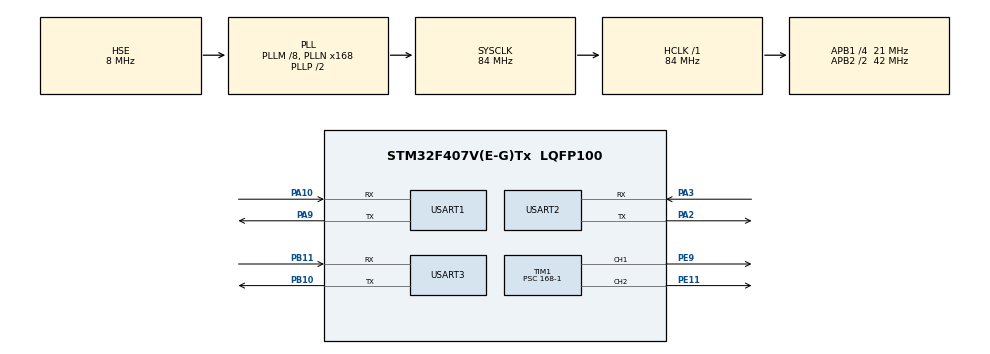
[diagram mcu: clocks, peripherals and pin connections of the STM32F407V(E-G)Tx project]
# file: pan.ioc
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Dma.Request0=USART3_RX
Dma.Request1=USART2_RX
Dma.Request2=USART1_RX
Dma.USART1_RX.2.Direction=DMA_PERIPH_TO_MEMORY
Dma.USART1_RX.2.FIFOMode=DMA_FIFOMODE_DISABLE
Dma.USART1_RX.2.Instance=DMA2_Stream2
Dma.USART1_RX.2.MemDataAlignment=DMA_MDATAALIGN_BYTE
Dma.USART1_RX.2.MemInc=DMA_MINC_ENABLE
Dma.USART1_RX.2.Mode=DMA_NORMAL
Dma.USART1_RX.2.PeriphDataAlignment=DMA_PDATAALIGN_BYTE
Dma.USART1_RX.2.PeriphInc=DMA_PINC_DISABLE
Dma.USART1_RX.2.Priority=DMA_PRIORITY_LOW
Dma.USART2_RX.1.Direction=DMA_PERIPH_TO_MEMORY
Dma.USART2_RX.1.FIFOMode=DMA_FIFOMODE_DISABLE
Dma.USART2_RX.1.Instance=DMA1_Stream5
Dma.USART2_RX.1.MemDataAlignment=DMA_MDATAALIGN_BYTE
Dma.USART2_RX.1.MemInc=DMA_MINC_ENABLE
Dma.USART2_RX.1.Mode=DMA_NORMAL
Dma.USART2_RX.1.PeriphDataAlignment=DMA_PDATAALIGN_BYTE
Dma.USART2_RX.1.PeriphInc=DMA_PINC_DISABLE
Dma.USART2_RX.1.Priority=DMA_PRIORITY_LOW
Dma.USART3_RX.0.Direction=DMA_PERIPH_TO_MEMORY
Dma.USART3_RX.0.FIFOMode=DMA_FIFOMODE_DISABLE
Dma.USART3_RX.0.Instance=DMA1_Stream1
Dma.USART3_RX.0.MemDataAlignment=DMA_MDATAALIGN_BYTE
Dma.USART3_RX.0.MemInc=DMA_MINC_ENABLE
Dma.USART3_RX.0.Mode=DMA_NORMAL
Dma.USART3_RX.0.PeriphDataAlignment=DMA_PDATAALIGN_BYTE
Dma.USART3_RX.0.PeriphInc=DMA_PINC_DISABLE
Dma.USART3_RX.0.Priority=DMA_PRIORITY_LOW
Mcu.Family=STM32F4
Mcu.Name=STM32F407V(E-G)Tx
Mcu.Package=LQFP100
NVIC.DMA1_Stream1_IRQn=true\:0\:0\:false\:false\:true\:false\:true
NVIC.DMA1_Stream5_IRQn=true\:0\:0\:false\:false\:true\:false\:true
NVIC.DMA2_Stream2_IRQn=true\:0\:0\:false\:false\:true\:false\:true
NVIC.PriorityGroup=NVIC_PRIORITYGROUP_4
NVIC.USART1_IRQn=true\:0\:0\:false\:false\:true\:true\:true
NVIC.USART2_IRQn=true\:0\:0\:false\:false\:true\:true\:true
NVIC.USART3_IRQn=true\:0\:0\:false\:false\:true\:true\:true
PA10.Mode=Asynchronous
PA10.Signal=USART1_RX
PA13.Mode=Serial_Wire
PA13.Signal=SYS_JTMS-SWDIO
PA14.Mode=Serial_Wire
PA14.Signal=SYS_JTCK-SWCLK
PA2.Mode=Asynchronous
PA2.Signal=USART2_TX
PA3.Mode=Asynchronous
PA3.Signal=USART2_RX
PA9.Mode=Asynchronous
PA9.Signal=USART1_TX
PB10.Mode=Asynchronous
PB10.Signal=USART3_TX
PB11.Mode=Asynchronous
PB11.Signal=USART3_RX
PC14-OSC32_IN.Mode=LSE-External-Oscillator
PC14-OSC32_IN.Signal=RCC_OSC32_IN
PC15-OSC32_OUT.Mode=LSE-External-Oscillator
PC15-OSC32_OUT.Signal=RCC_OSC32_OUT
PE11.Signal=S_TIM1_CH2
PE9.Signal=S_TIM1_CH1
PH0-OSC_IN.Mode=HSE-External-Oscillator
PH0-OSC_IN.Signal=RCC_OSC_IN
PH1-OSC_OUT.Mode=HSE-External-Oscillator
PH1-OSC_OUT.Signal=RCC_OSC_OUT
ProjectManager.HeapSize=0x200
ProjectManager.StackSize=0x400
ProjectManager.TargetToolchain=MDK-ARM V5.27
RCC.48MHZClocksFreq_Value=42000000
RCC.AHBFreq_Value=84000000
RCC.APB1CLKDivider=RCC_HCLK_DIV4
RCC.APB1Freq_Value=21000000
RCC.APB1TimFreq_Value=42000000
RCC.APB2CLKDivider=RCC_HCLK_DIV2
RCC.APB2Freq_Value=42000000
RCC.APB2TimFreq_Value=84000000
RCC.CortexFreq_Value=84000000
RCC.HCLKFreq_Value=84000000
RCC.HSE_VALUE=8000000
RCC.HSI_VALUE=16000000
RCC.PLLM=8
RCC.PLLN=168
RCC.PLLSourceVirtual=RCC_PLLSOURCE_HSE
RCC.SYSCLKFreq_VALUE=84000000
RCC.SYSCLKSource=RCC_SYSCLKSOURCE_PLLCLK
RCC.VCOOutputFreq_Value=168000000
SH.S_TIM1_CH1.0=TIM1_CH1,PWM Generation1 CH1
SH.S_TIM1_CH2.0=TIM1_CH2,PWM Generation2 CH2
TIM1.Channel-PWM\ Generation1\ CH1=TIM_CHANNEL_1
TIM1.Channel-PWM\ Generation2\ CH2=TIM_CHANNEL_2
TIM1.Period=20000
TIM1.Prescaler=168-1
USART1.VirtualMode=VM_ASYNC
USART2.VirtualMode=VM_ASYNC
USART3.VirtualMode=VM_ASYNC
VP_TIM1_VS_ClockSourceINT.Mode=Internal
board=custom

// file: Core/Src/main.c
/* USER CODE BEGIN Header */
/**
 ******************************************************************************
 * @file           : main.c
 * @brief          : Main program body
 ******************************************************************************
 * @attention
 *
 * <h2><center>&copy; Copyright (c) 2022 STMicroelectronics.
 * All rights reserved.</center></h2>
 *
 * This software component is licensed by ST under BSD 3-Clause license,
 * the "License"; You may not use this file except in compliance with the
 * License. You may obtain a copy of the License at:
 *                        opensource.org/licenses/BSD-3-Clause
 *
 ******************************************************************************
 */

/* USER CODE END Header */
#include "main.h"
#include "dma.h"
#include "tim.h"
#include "usart.h"
#include "gpio.h"

/* USER CODE BEGIN Includes */
#include <stdio.h>
#include "pan.h"
/* USER CODE END Includes */

void SystemClock_Config(void);

/* USER CODE BEGIN 0 */
float pos_x;
float pos_y;
float anglea;
float angleb;

#ifdef __GNUC__
#define PUTCHAR_PROTOTYPE int __io_putchar(int ch)
#else
#define PUTCHAR_PROTOTYPE int fputc(int ch, FILE *f)
#endif
PUTCHAR_PROTOTYPE
{
    HAL_UART_Transmit(&huart3, (uint8_t *)&ch, 1, 0xFFFF);
    return ch;
}
/* USER CODE END 0 */

int main(void)
{

  /* MCU Configuration--------------------------------------------------------*/

  /* Reset of all peripherals, Initializes the Flash interface and the Systick. */
  HAL_Init();

  /* Configure the system clock */
  SystemClock_Config();

  /* USER CODE BEGIN SysInit */
    // MXInit
    {
  /* USER CODE END SysInit */

  /* Initialize all configured peripherals */
  MX_GPIO_Init();
  MX_DMA_Init();
  MX_TIM1_Init();
  MX_USART1_UART_Init();
  MX_USART2_UART_Init();
  MX_USART3_UART_Init();
  /* USER CODE BEGIN 2 */
    }

    //  I2C_GPIO_Config();
    //  MPU6050_init();
    // TimeInit();
    printf("Init\r\n");
		//HAL_UART_Transmit(&huart3, "hello\r\n", 7, 0xff);
		HAL_TIM_PWM_Start(&htim1,TIM_CHANNEL_1);
	  HAL_TIM_PWM_Start(&htim1,TIM_CHANNEL_2);

		send_H_angle(500);
		send_L_angle(90);
		HAL_Delay(3000);
												send_H_angle(480);
										send_L_angle(65);
		//send_H_angle((int)0);
		int a=0;
		pos_x=90;
		//send_L_angle((int)(0+90));
  /* USER CODE END 2 */

  /* Infinite loop */
  /* USER CODE BEGIN WHILE */
    while (1)
    {
						//printf("enter\r\n");
		//send_L_angle((int)pos_x);
			//__HAL_TIM_SET_COMPARE(&htim1, TIM_CHANNEL_2, a);
		//send_H_angle((int)pos_y);
			//printf("pos_y:%f\r\n",pos_y);
											printf("t4.txt=\"area 1\"\xff\xff\xff");
			//printf("pos_y:%d\r\n",(int)pos_y);
//		HAL_Delay(300);
//		send_L_angle(0);
//					send_H_angle(0);
			//a+=30;
//			__HAL_TIM_SET_COMPARE(&htim1, TIM_CHANNEL_2, a);
			HAL_Delay(300);
			//printf("a:%d\r\n",a);
    /* USER CODE END WHILE */

    }
}

void SystemClock_Config(void)
{
  RCC_OscInitTypeDef RCC_OscInitStruct = {0};
  RCC_ClkInitTypeDef RCC_ClkInitStruct = {0};

  /** Configure the main internal regulator output voltage
  */
  __HAL_RCC_PWR_CLK_ENABLE();
  __HAL_PWR_VOLTAGESCALING_CONFIG(PWR_REGULATOR_VOLTAGE_SCALE1);
  /** Initializes the RCC Oscillators according to the specified parameters
  * in the RCC_OscInitTypeDef structure.
  */
  RCC_OscInitStruct.OscillatorType = RCC_OSCILLATORTYPE_HSE;
  RCC_OscInitStruct.HSEState = RCC_HSE_ON;
  RCC_OscInitStruct.PLL.PLLState = RCC_PLL_ON;
  RCC_OscInitStruct.PLL.PLLSource = RCC_PLLSOURCE_HSE;
  RCC_OscInitStruct.PLL.PLLM = 8;
  RCC_OscInitStruct.PLL.PLLN = 168;
  RCC_OscInitStruct.PLL.PLLP = RCC_PLLP_DIV2;
  RCC_OscInitStruct.PLL.PLLQ = 4;
  if (HAL_RCC_OscConfig(&RCC_OscInitStruct) != HAL_OK)
  {
    Error_Handler();
  }
  /** Initializes the CPU, AHB and APB buses clocks
  */
  RCC_ClkInitStruct.ClockType = RCC_CLOCKTYPE_HCLK|RCC_CLOCKTYPE_SYSCLK
                              |RCC_CLOCKTYPE_PCLK1|RCC_CLOCKTYPE_PCLK2;
  RCC_ClkInitStruct.SYSCLKSource = RCC_SYSCLKSOURCE_PLLCLK;
  RCC_ClkInitStruct.AHBCLKDivider = RCC_SYSCLK_DIV1;
  RCC_ClkInitStruct.APB1CLKDivider = RCC_HCLK_DIV4;
  RCC_ClkInitStruct.APB2CLKDivider = RCC_HCLK_DIV2;

  if (HAL_RCC_ClockConfig(&RCC_ClkInitStruct, FLASH_LATENCY_2) != HAL_OK)
  {
    Error_Handler();
  }
}

/* USER CODE BEGIN 4 */

/* USER CODE BEGIN 4 */

int is_str_equal(char *str_p1, uint8_t size1, char *str_p2)
{
    if (size1 == 0)
        return 0;
    for (int i = 0; i < size1; i++)
    {
        if (str_p1[i] != str_p2[i])
            return 0;
    }
    return 1;
}

void arg_prase(int argc, char **argv)
{
    // printf("prase\n");
    for (int i = 0; i < argc; i++)
    {
        printf("%s ", argv[i]);
        if (is_str_equal("posx", 4, argv[i]))
        {
            int value = atoi(argv[++i]);
            if (value >= 0 && value <= 999)
            {
                pos_x = value;
							if(pos_x=='1')
							{
										send_H_angle(450);
										send_L_angle(65);
								printf("t4.txt=\"area 1\"");

							}
							else if(pos_x=='2')
							{
										send_H_angle(450);
										send_L_angle(75);
							}
							else if(pos_x=='3')
							{
										send_H_angle(450);
										send_L_angle(85);
							}
							else if(pos_x=='4')
							{
										send_H_angle(450);
										send_L_angle(95);
							}
							else if(pos_x=='5')
							{
										send_H_angle(450);
										send_L_angle(105);
							}
							else if(pos_x=='6')
							{
										send_H_angle(450);
										send_L_angle(115);
							}

            }
        }
        else if (is_str_equal("posy", 4, argv[i]))
        {
            float value = atof(argv[++i]);
            if (value >= 0 && value <= 999)
            {
                pos_y = value;
            }
        }
    }
    printf("\r\npos_x: %f, pos_y: %f\r\n", pos_x, pos_y);
		anglea = trans_anglea(pos_x, pos_y);
		angleb = trans_angleb(pos_x, pos_y);
		printf("angle_a: %f, angle_b: %f\r\n", anglea, angleb);

//		send_H_angle((int)angleb);
//		send_L_angle((int)(anglea+90));
}

/* USER CODE END 4 */

void Error_Handler(void)
{
    __disable_irq();
    while (1)
    {
    }
}

/************************ (C) COPYRIGHT STMicroelectronics *****END OF FILE****/
